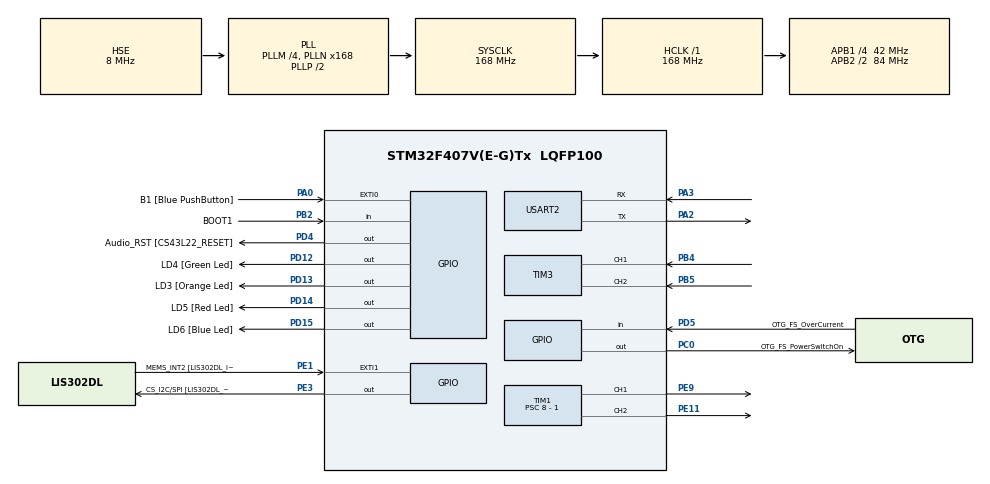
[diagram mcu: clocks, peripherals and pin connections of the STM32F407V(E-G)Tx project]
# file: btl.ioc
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Dma.Request0=USART2_TX
Dma.Request1=USART2_RX
Dma.USART2_RX.1.Direction=DMA_PERIPH_TO_MEMORY
Dma.USART2_RX.1.FIFOMode=DMA_FIFOMODE_DISABLE
Dma.USART2_RX.1.Instance=DMA1_Stream5
Dma.USART2_RX.1.MemDataAlignment=DMA_MDATAALIGN_BYTE
Dma.USART2_RX.1.MemInc=DMA_MINC_ENABLE
Dma.USART2_RX.1.Mode=DMA_NORMAL
Dma.USART2_RX.1.PeriphDataAlignment=DMA_PDATAALIGN_BYTE
Dma.USART2_RX.1.PeriphInc=DMA_PINC_DISABLE
Dma.USART2_RX.1.Priority=DMA_PRIORITY_LOW
Dma.USART2_TX.0.Direction=DMA_MEMORY_TO_PERIPH
Dma.USART2_TX.0.FIFOMode=DMA_FIFOMODE_DISABLE
Dma.USART2_TX.0.Instance=DMA1_Stream6
Dma.USART2_TX.0.MemDataAlignment=DMA_MDATAALIGN_BYTE
Dma.USART2_TX.0.MemInc=DMA_MINC_ENABLE
Dma.USART2_TX.0.Mode=DMA_NORMAL
Dma.USART2_TX.0.PeriphDataAlignment=DMA_PDATAALIGN_BYTE
Dma.USART2_TX.0.PeriphInc=DMA_PINC_DISABLE
Dma.USART2_TX.0.Priority=DMA_PRIORITY_LOW
Mcu.Family=STM32F4
Mcu.Name=STM32F407V(E-G)Tx
Mcu.Package=LQFP100
NVIC.DMA1_Stream5_IRQn=true\:0\:0\:false\:false\:true\:false\:true
NVIC.DMA1_Stream6_IRQn=true\:0\:0\:false\:false\:true\:false\:true
NVIC.PriorityGroup=NVIC_PRIORITYGROUP_0
NVIC.TIM6_DAC_IRQn=true\:0\:0\:false\:false\:true\:true\:true
NVIC.USART2_IRQn=true\:0\:0\:false\:false\:true\:true\:true
PA0-WKUP.GPIO_Label=B1 [Blue PushButton]
PA0-WKUP.Signal=GPXTI0
PA10.GPIO_Label=OTG_FS_ID
PA10.GPIO_Mode=GPIO_MODE_AF_PP
PA10.GPIO_PuPd=GPIO_NOPULL
PA10.GPIO_Speed=GPIO_SPEED_FREQ_LOW
PA10.Signal=USB_OTG_FS_ID
PA11.GPIO_Label=OTG_FS_DM
PA11.GPIO_Mode=GPIO_MODE_AF_PP
PA11.GPIO_PuPd=GPIO_NOPULL
PA11.GPIO_Speed=GPIO_SPEED_FREQ_LOW
PA11.Signal=USB_OTG_FS_DM
PA12.GPIO_Label=OTG_FS_DP
PA12.GPIO_Mode=GPIO_MODE_AF_PP
PA12.GPIO_PuPd=GPIO_NOPULL
PA12.GPIO_Speed=GPIO_SPEED_FREQ_LOW
PA12.Signal=USB_OTG_FS_DP
PA13.GPIO_Label=SWDIO
PA13.Mode=Trace_Asynchronous_SW
PA13.Signal=SYS_JTMS-SWDIO
PA14.GPIO_Label=SWCLK
PA14.Mode=Trace_Asynchronous_SW
PA14.Signal=SYS_JTCK-SWCLK
PA2.Mode=Asynchronous
PA2.Signal=USART2_TX
PA3.Mode=Asynchronous
PA3.Signal=USART2_RX
PA4.GPIO_Label=I2S3_WS [CS43L22_LRCK]
PA4.GPIO_Mode=GPIO_MODE_AF_PP
PA4.GPIO_PuPd=GPIO_NOPULL
PA4.GPIO_Speed=GPIO_SPEED_FREQ_LOW
PA4.Signal=I2S3_WS
PA5.GPIO_Label=SPI1_SCK [LIS302DL_SCL/SPC]
PA5.GPIO_Mode=GPIO_MODE_AF_PP
PA5.GPIO_PuPd=GPIO_NOPULL
PA5.GPIO_Speed=GPIO_SPEED_FREQ_LOW
PA5.Signal=SPI1_SCK
PA6.GPIO_Label=SPI1_MISO [LIS302DL_SDO]
PA6.GPIO_Mode=GPIO_MODE_AF_PP
PA6.GPIO_PuPd=GPIO_NOPULL
PA6.GPIO_Speed=GPIO_SPEED_FREQ_LOW
PA6.Signal=SPI1_MISO
PA7.GPIO_Label=SPI1_MOSI [LIS302DL_SDA/SDI/SDO]
PA7.GPIO_Mode=GPIO_MODE_AF_PP
PA7.GPIO_PuPd=GPIO_NOPULL
PA7.GPIO_Speed=GPIO_SPEED_FREQ_LOW
PA7.Signal=SPI1_MOSI
PA9.GPIO_Label=VBUS_FS
PA9.GPIO_Mode=GPIO_MODE_INPUT
PA9.GPIO_PuPd=GPIO_NOPULL
PA9.Signal=USB_OTG_FS_VBUS
PB10.GPIO_Label=CLK_IN [MP45DT02_CLK]
PB10.GPIO_Mode=GPIO_MODE_AF_PP
PB10.GPIO_PuPd=GPIO_NOPULL
PB10.GPIO_Speed=GPIO_SPEED_FREQ_LOW
PB10.Signal=I2S2_CK
PB2.GPIO_Label=BOOT1
PB2.GPIO_Mode=GPIO_MODE_INPUT
PB2.GPIO_PuPd=GPIO_NOPULL
PB2.Signal=GPIO_Input
PB3.GPIO_Label=SWO
PB3.Mode=Trace_Asynchronous_SW
PB3.Signal=SYS_JTDO-SWO
PB4.Signal=S_TIM3_CH1
PB5.Signal=S_TIM3_CH2
PB6.GPIO_Label=Audio_SCL [CS43L22_SCL]
PB6.GPIO_Mode=GPIO_MODE_AF_OD
PB6.GPIO_PuPd=GPIO_NOPULL
PB6.GPIO_Speed=GPIO_SPEED_FREQ_LOW
PB6.Signal=I2C1_SCL
PB9.GPIO_Label=Audio_SDA [CS43L22_SDA]
PB9.GPIO_Mode=GPIO_MODE_AF_OD
PB9.GPIO_PuPd=GPIO_NOPULL
PB9.GPIO_Speed=GPIO_SPEED_FREQ_LOW
PB9.Signal=I2C1_SDA
PC0.GPIO_Label=OTG_FS_PowerSwitchOn
PC0.GPIO_PuPd=GPIO_NOPULL
PC0.GPIO_Speed=GPIO_SPEED_FREQ_LOW
PC0.PinState=GPIO_PIN_SET
PC0.Signal=GPIO_Output
PC10.GPIO_Label=I2S3_SCK [CS43L22_SCLK]
PC10.GPIO_Mode=GPIO_MODE_AF_PP
PC10.GPIO_PuPd=GPIO_NOPULL
PC10.GPIO_Speed=GPIO_SPEED_FREQ_LOW
PC10.Signal=I2S3_CK
PC12.GPIO_Label=I2S3_SD [CS43L22_SDIN]
PC12.GPIO_Mode=GPIO_MODE_AF_PP
PC12.GPIO_PuPd=GPIO_NOPULL
PC12.GPIO_Speed=GPIO_SPEED_FREQ_LOW
PC12.Signal=I2S3_SD
PC14-OSC32_IN.GPIO_Label=PC14-OSC32_IN
PC14-OSC32_IN.Signal=RCC_OSC32_IN
PC15-OSC32_OUT.GPIO_Label=PC15-OSC32_OUT
PC15-OSC32_OUT.Signal=RCC_OSC32_OUT
PC3.GPIO_Label=PDM_OUT [MP45DT02_DOUT]
PC3.GPIO_Mode=GPIO_MODE_AF_PP
PC3.GPIO_PuPd=GPIO_NOPULL
PC3.GPIO_Speed=GPIO_SPEED_FREQ_LOW
PC3.Signal=I2S2_SD
PC7.GPIO_Label=I2S3_MCK [CS43L22_MCLK]
PC7.GPIO_Mode=GPIO_MODE_AF_PP
PC7.GPIO_PuPd=GPIO_NOPULL
PC7.GPIO_Speed=GPIO_SPEED_FREQ_LOW
PC7.Signal=I2S3_MCK
PD12.GPIO_Label=LD4 [Green Led]
PD12.GPIO_PuPd=GPIO_NOPULL
PD12.GPIO_Speed=GPIO_SPEED_FREQ_LOW
PD12.Signal=GPIO_Output
PD13.GPIO_Label=LD3 [Orange Led]
PD13.GPIO_PuPd=GPIO_NOPULL
PD13.GPIO_Speed=GPIO_SPEED_FREQ_LOW
PD13.Signal=GPIO_Output
PD14.GPIO_Label=LD5 [Red Led]
PD14.GPIO_PuPd=GPIO_NOPULL
PD14.GPIO_Speed=GPIO_SPEED_FREQ_LOW
PD14.Signal=GPIO_Output
PD15.GPIO_Label=LD6 [Blue Led]
PD15.GPIO_PuPd=GPIO_NOPULL
PD15.GPIO_Speed=GPIO_SPEED_FREQ_LOW
PD15.Signal=GPIO_Output
PD4.GPIO_Label=Audio_RST [CS43L22_RESET]
PD4.GPIO_PuPd=GPIO_NOPULL
PD4.GPIO_Speed=GPIO_SPEED_FREQ_LOW
PD4.Signal=GPIO_Output
PD5.GPIO_Label=OTG_FS_OverCurrent
PD5.GPIO_Mode=GPIO_MODE_INPUT
PD5.GPIO_PuPd=GPIO_NOPULL
PD5.Signal=GPIO_Input
PE1.GPIO_Label=MEMS_INT2 [LIS302DL_INT2]
PE1.GPIO_ModeDefaultEXTI=GPIO_MODE_EVT_RISING
PE1.GPIO_PuPd=GPIO_NOPULL
PE1.Signal=GPXTI1
PE11.Signal=S_TIM1_CH2
PE3.GPIO_Label=CS_I2C/SPI [LIS302DL_CS_I2C/SPI]
PE3.GPIO_PuPd=GPIO_NOPULL
PE3.GPIO_Speed=GPIO_SPEED_FREQ_LOW
PE3.Signal=GPIO_Output
PE9.Signal=S_TIM1_CH1
PH0-OSC_IN.GPIO_Label=PH0-OSC_IN
PH0-OSC_IN.Mode=HSE-External-Oscillator
PH0-OSC_IN.Signal=RCC_OSC_IN
PH1-OSC_OUT.GPIO_Label=PH1-OSC_OUT
PH1-OSC_OUT.Mode=HSE-External-Oscillator
PH1-OSC_OUT.Signal=RCC_OSC_OUT
ProjectManager.HeapSize=0x200
ProjectManager.StackSize=0x400
ProjectManager.TargetToolchain=STM32CubeIDE
RCC.48MHZClocksFreq_Value=48000000
RCC.AHBFreq_Value=168000000
RCC.APB1CLKDivider=RCC_HCLK_DIV4
RCC.APB1Freq_Value=42000000
RCC.APB1TimFreq_Value=84000000
RCC.APB2CLKDivider=RCC_HCLK_DIV2
RCC.APB2Freq_Value=84000000
RCC.APB2TimFreq_Value=168000000
RCC.CortexFreq_Value=168000000
RCC.HCLKFreq_Value=168000000
RCC.HSE_VALUE=8000000
RCC.HSI_VALUE=16000000
RCC.LSE_VALUE=32768
RCC.PLLM=4
RCC.PLLN=168
RCC.PLLQ=7
RCC.PLLSourceVirtual=RCC_PLLSOURCE_HSE
RCC.SYSCLKFreq_VALUE=168000000
RCC.SYSCLKSource=RCC_SYSCLKSOURCE_PLLCLK
RCC.VCOOutputFreq_Value=336000000
SH.S_TIM1_CH1.0=TIM1_CH1,PWM Generation1 CH1
SH.S_TIM1_CH2.0=TIM1_CH2,PWM Generation2 CH2
SH.S_TIM3_CH1.0=TIM3_CH1,Encoder_Interface
SH.S_TIM3_CH2.0=TIM3_CH2,Encoder_Interface
TIM1.Channel-PWM\ Generation1\ CH1=TIM_CHANNEL_1
TIM1.Channel-PWM\ Generation2\ CH2=TIM_CHANNEL_2
TIM1.OCPolarity_1=TIM_OCPOLARITY_HIGH
TIM1.OCPolarity_2=TIM_OCPOLARITY_HIGH
TIM1.Period=1000 - 1
TIM1.Prescaler=8 - 1
TIM3.ClockDivision=TIM_CLOCKDIVISION_DIV2
TIM3.EncoderMode=TIM_ENCODERMODE_TI12
TIM3.IC1Filter=15
TIM3.IC2Filter=15
TIM6.Period=1000 - 1
TIM6.Prescaler=84 - 1
USART2.VirtualMode=VM_ASYNC
VP_TIM1_VS_ClockSourceINT.Mode=Internal
VP_TIM6_VS_ClockSourceINT.Mode=Enable_Timer
board=STM32F407G-DISC1

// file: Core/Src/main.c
/* USER CODE BEGIN Header */
/**
  ******************************************************************************
  * @file           : main.c
  * @brief          : Main program body
  ******************************************************************************
  * @attention
  *
  * <h2><center>&copy; Copyright (c) 2021 STMicroelectronics.
  * All rights reserved.</center></h2>
  *
  * This software component is licensed by ST under BSD 3-Clause license,
  * the "License"; You may not use this file except in compliance with the
  * License. You may obtain a copy of the License at:
  *                        opensource.org/licenses/BSD-3-Clause
  *
  ******************************************************************************
  */
/* USER CODE END Header */
#include "main.h"
#include "dma.h"
#include "tim.h"
#include "usart.h"
#include "gpio.h"

/* USER CODE BEGIN Includes */
#include <stdlib.h>
#include "printf.h"
#include "pid.h"
/* USER CODE END Includes */

/* USER CODE BEGIN PTD */
typedef enum
{
	ENCODER_MODE_X1 = 1,
	ENCODER_MODE_X4 = 4
}
encoderMode;
/* USER CODE END PTD */

/* USER CODE BEGIN PD */
#define SAMPLE_TIME 1.0 // PID sample time in ms
#define PWM_PERIOD	1000
/* USER CODE END PD */

/* USER CODE BEGIN PV */
volatile uint8_t rx_buf[64];
volatile uint8_t tx_buf[16];

PidType pid;
volatile encoderMode enc_mode = ENCODER_MODE_X4;
volatile int32_t enc_pulse = 0;
volatile float Kp = 60, Ki = 10, Kd = 0.7;
volatile float setpoint = 0, input = 0, output = 0;
/* USER CODE END PV */

void SystemClock_Config(void);
/* USER CODE BEGIN PFP */
void set_duty_cycle(int32_t dutyCycle);
/* USER CODE END PFP */

int main(void)
{

  /* MCU Configuration--------------------------------------------------------*/

  /* Reset of all peripherals, Initializes the Flash interface and the Systick. */
  HAL_Init();

  /* Configure the system clock */
  SystemClock_Config();

  /* Initialize all configured peripherals */
  MX_GPIO_Init();
  MX_DMA_Init();
  MX_USART2_UART_Init();
  MX_TIM6_Init();
  MX_TIM1_Init();
  MX_TIM3_Init();
  /* USER CODE BEGIN 2 */
  __HAL_DMA_DISABLE_IT(&hdma_usart2_rx, DMA_IT_HT);
  HAL_UARTEx_ReceiveToIdle_DMA(&huart2, (uint8_t *)rx_buf, sizeof(rx_buf));

  PID_Init(&pid,
		  (float *)&input, (float *)&output, (float *)&setpoint,
		  (float)Kp, (float)Ki, (float)Kd,
		  PID_Direction_Direct);
  PID_SetSampleTime(&pid, SAMPLE_TIME);
  PID_SetOutputLimits(&pid, -PWM_PERIOD, PWM_PERIOD);

  TIM3->CNT = 32768;
  HAL_TIM_Encoder_Start(&htim3, TIM_CHANNEL_ALL);

  HAL_TIM_Base_Start_IT(&htim6);

  HAL_TIM_PWM_Start(&htim1, TIM_CHANNEL_1);
  HAL_TIM_PWM_Start(&htim1, TIM_CHANNEL_2);

  /* USER CODE END 2 */

  /* Infinite loop */
 while (1)
  {

  }
}

void SystemClock_Config(void)
{
  RCC_OscInitTypeDef RCC_OscInitStruct = {0};
  RCC_ClkInitTypeDef RCC_ClkInitStruct = {0};

  /** Configure the main internal regulator output voltage
  */
  __HAL_RCC_PWR_CLK_ENABLE();
  __HAL_PWR_VOLTAGESCALING_CONFIG(PWR_REGULATOR_VOLTAGE_SCALE1);
  /** Initializes the RCC Oscillators according to the specified parameters
  * in the RCC_OscInitTypeDef structure.
  */
  RCC_OscInitStruct.OscillatorType = RCC_OSCILLATORTYPE_HSE;
  RCC_OscInitStruct.HSEState = RCC_HSE_ON;
  RCC_OscInitStruct.PLL.PLLState = RCC_PLL_ON;
  RCC_OscInitStruct.PLL.PLLSource = RCC_PLLSOURCE_HSE;
  RCC_OscInitStruct.PLL.PLLM = 4;
  RCC_OscInitStruct.PLL.PLLN = 168;
  RCC_OscInitStruct.PLL.PLLP = RCC_PLLP_DIV2;
  RCC_OscInitStruct.PLL.PLLQ = 7;
  if (HAL_RCC_OscConfig(&RCC_OscInitStruct) != HAL_OK)
  {
    Error_Handler();
  }
  /** Initializes the CPU, AHB and APB buses clocks
  */
  RCC_ClkInitStruct.ClockType = RCC_CLOCKTYPE_HCLK|RCC_CLOCKTYPE_SYSCLK
                              |RCC_CLOCKTYPE_PCLK1|RCC_CLOCKTYPE_PCLK2;
  RCC_ClkInitStruct.SYSCLKSource = RCC_SYSCLKSOURCE_PLLCLK;
  RCC_ClkInitStruct.AHBCLKDivider = RCC_SYSCLK_DIV1;
  RCC_ClkInitStruct.APB1CLKDivider = RCC_HCLK_DIV4;
  RCC_ClkInitStruct.APB2CLKDivider = RCC_HCLK_DIV2;

  if (HAL_RCC_ClockConfig(&RCC_ClkInitStruct, FLASH_LATENCY_5) != HAL_OK)
  {
    Error_Handler();
  }
}

/* USER CODE BEGIN 4 */
void HAL_UARTEx_RxEventCallback(UART_HandleTypeDef *huart, uint16_t Size)
{
	if(huart->Instance == USART2)
	{
		uint32_t i = 0;
		while(i < Size)
		{
			uint8_t cmdByte = rx_buf[i];
			i += 2;

			float param = 0;
			float sign = 1;
			float factor = 1;
			bool point_found = false;

			if(rx_buf[i] == '-')
			{
				sign = -1;
				i++;
			}
			while(i < Size)
			{
				if(rx_buf[i] == '.')
				{
					point_found = true;
					i++;
				}
				if(rx_buf[i] >= '0' && rx_buf[i] <= '9')
					param = param * 10 + (float)(rx_buf[i] - '0');
				else
					break;
				if(point_found)
					factor *= 10;
				i++;
			}
			param = sign * param / factor;

			encoderMode tmp_mode = (encoderMode)param;
			switch(cmdByte)
			{
				case 'P':
					Kp = param;
					break;
				case 'I':
					Ki = param;
					break;
				case 'D':
					Kd = param;
					break;
				case 'S':
					if(enc_mode == ENCODER_MODE_X1)
						setpoint = param * 4;
					else if(enc_mode == ENCODER_MODE_X4)
						setpoint = param;
					break;
				case 'M':
					if(tmp_mode != enc_mode && (tmp_mode == ENCODER_MODE_X1 || tmp_mode == ENCODER_MODE_X4))
					{
//						if(tmp_mode == ENCODER_MODE_X1)
//						{
////							HAL_TIM_Encoder_DeInit(&htim3);
////
////							GPIO_InitStruct.Pin = GPIO_PIN_4;
////							GPIO_InitStruct.Mode = GPIO_MODE_IT_RISING;
////							GPIO_InitStruct.Pull = GPIO_NOPULL;
////							HAL_GPIO_Init(GPIOB, &GPIO_InitStruct);
////							HAL_NVIC_SetPriority(EXTI4_IRQn, 0, 0);
////							HAL_NVIC_EnableIRQ(EXTI4_IRQn);
////
////							GPIO_InitStruct.Pin = GPIO_PIN_5;
////							GPIO_InitStruct.Mode = GPIO_MODE_INPUT;
////							GPIO_InitStruct.Pull = GPIO_NOPULL;
////							HAL_GPIO_Init(GPIOB, &GPIO_InitStruct);
//
//							Kp *= 4;
//							Ki *= 4;
//							Kd *= 4;
//						}
//						else if(tmp_mode == ENCODER_MODE_X4)
//						{
//							//HAL_NVIC_DisableIRQ(EXTI4_IRQn);
//							//MX_TIM3_Init();
//							//TIM3->CNT = 32768;
//							//HAL_TIM_Encoder_Start(&htim3, TIM_CHANNEL_ALL);
//
//							Kp /= 4;
//							Ki /= 4;
//							Kd /= 4;
//						}
//						else
//							break;
						enc_mode = tmp_mode;
						enc_pulse = 0;
						setpoint = 0;
					}
					break;
				default:
					break;
			}
			while(rx_buf[i] == '\r' || rx_buf[i] == '\n')
				i++;
		}

		PID_SetTunings(&pid, Kp, Ki, Kd);

		HAL_UARTEx_ReceiveToIdle_DMA(&huart2, (uint8_t *)rx_buf, sizeof(rx_buf));
	}
}

void HAL_TIM_PeriodElapsedCallback(TIM_HandleTypeDef *htim)
{
	if(htim->Instance == TIM6)
	{
		enc_pulse += ((int32_t)TIM3->CNT - 32768);
		TIM3->CNT = 32768;

		input = (float)enc_pulse;
		PID_Compute(&pid);
		set_duty_cycle((int32_t)output);

		int32_t tmp_pulse = enc_mode == ENCODER_MODE_X4 ? enc_pulse : enc_pulse / 4;

		uint16_t len = snprintf((char *)tx_buf, sizeof(tx_buf), "%d\r\n", (int)tmp_pulse);
		HAL_UART_Transmit_DMA(&huart2, (uint8_t *)tx_buf, len);
	}
}

void set_duty_cycle(int32_t dutyCycle)
{
	bool dir = dutyCycle > 0 ? 1 : 0;
	dutyCycle = abs(dutyCycle);

	if(dir == 1)
	{
		__HAL_TIM_SetCompare(&htim1, TIM_CHANNEL_1, PWM_PERIOD - (uint32_t)dutyCycle);
		__HAL_TIM_SetCompare(&htim1, TIM_CHANNEL_2, PWM_PERIOD);
	}
	else
	{
		__HAL_TIM_SetCompare(&htim1, TIM_CHANNEL_1, PWM_PERIOD);
		__HAL_TIM_SetCompare(&htim1, TIM_CHANNEL_2, PWM_PERIOD - (uint32_t)dutyCycle);
	}
}
/* USER CODE END 4 */

void Error_Handler(void)
{
  __disable_irq();
  while (1)
  {
  }
}

/************************ (C) COPYRIGHT STMicroelectronics *****END OF FILE****/
